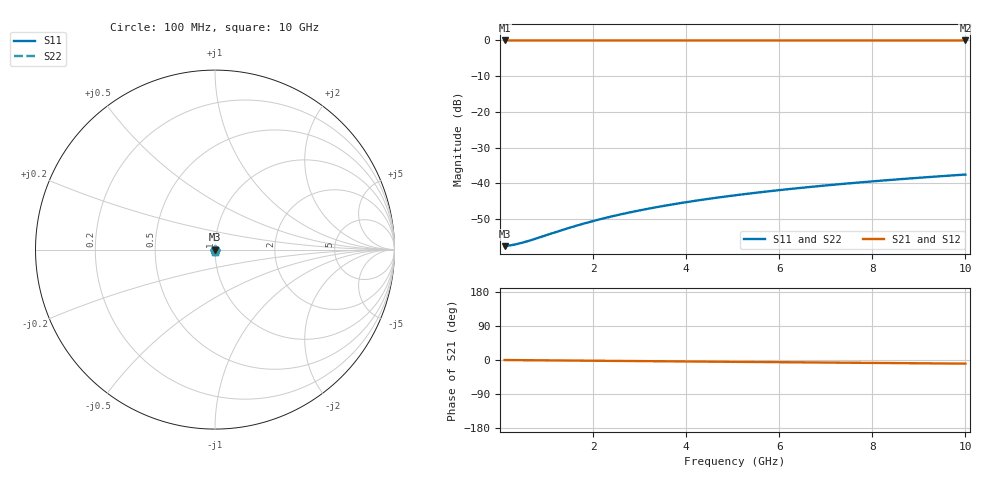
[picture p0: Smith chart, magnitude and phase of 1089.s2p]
# Hz S RI R 50.00
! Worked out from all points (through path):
!   100 points, 100 MHz to 10 GHz, reference 50 ohm
!   highest |S21| = -0.01 dB at 100 MHz (marker M1); lowest = 0.0 dB at 10 GHz (marker M2)
!   group delay of S21, straight-line fit = 2.67 ps
!   lowest |S11| = -57.6 dB at 100 MHz (marker M3), VSWR 1.00, Z = 50.1 - j0.0134 ohm
!   |S11| at or under -10 dB: start of sweep to end of sweep
!   |S22| runs from -57.6 to -37.5 dB; largest |S21 - S12| = 0
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1e8  0.00131 -0.000134  0.9987 -0.00167  0.9987 -0.00167  0.00131 -0.000134
2e8  0.00132 -0.000267  0.9987 -0.00334  0.9987 -0.00334  0.00132 -0.000267
3e8  0.00133 -0.000401  0.9987 -0.00501  0.9987 -0.00501  0.00133 -0.000401
4e8  0.00133 -0.000535  0.9986 -0.00668  0.9986 -0.00668  0.00133 -0.000535
5e8  0.00133 -0.000669  0.9986 -0.00835  0.9986 -0.00835  0.00133 -0.000669
7e8  0.00133 -0.000936  0.9986 -0.0117  0.9986 -0.0117  0.00133 -0.000936
1.4e9  0.00131 -0.00187  0.9983 -0.0234  0.9983 -0.0234  0.00131 -0.00187
1.8e9  0.00129 -0.00241  0.9982 -0.03  0.9982 -0.03  0.00129 -0.00241
2.2e9  0.00126 -0.00294  0.9979 -0.0367  0.9979 -0.0367  0.00126 -0.00294
2.6e9  0.00122 -0.00348  0.9976 -0.0434  0.9976 -0.0434  0.00122 -0.00348
3e9  0.00117 -0.00401  0.9973 -0.0501  0.9973 -0.0501  0.00117 -0.00401
3.4e9  0.00112 -0.00455  0.9969 -0.0567  0.9969 -0.0567  0.00112 -0.00455
3.8e9  0.00106 -0.00508  0.9965 -0.0634  0.9965 -0.0634  0.00106 -0.00508
4.2e9  0.000988 -0.00561  0.9961 -0.0701  0.9961 -0.0701  0.000988 -0.00561
4.6e9  0.000913 -0.00615  0.9956 -0.0768  0.9956 -0.0768  0.000913 -0.00615
5.1e9  0.000808 -0.00681  0.9949 -0.0851  0.9949 -0.0851  0.000808 -0.00681
5.9e9  0.000617 -0.00788  0.9936 -0.0984  0.9936 -0.0984  0.000617 -0.00788
6.7e9  0.000397 -0.00894  0.9922 -0.1117  0.9922 -0.1117  0.000397 -0.00894
7.5e9  0.000149 -0.00999  0.9906 -0.125  0.9906 -0.125  0.000149 -0.00999
8.4e9  -0.000164 -0.0112  0.9885 -0.14  0.9885 -0.14  -0.000164 -0.0112
9.2e9  -0.000472 -0.0122  0.9865 -0.1532  0.9865 -0.1532  -0.000472 -0.0122
1e10  -0.000808 -0.0132  0.9843 -0.1665  0.9843 -0.1665  -0.000808 -0.0132
